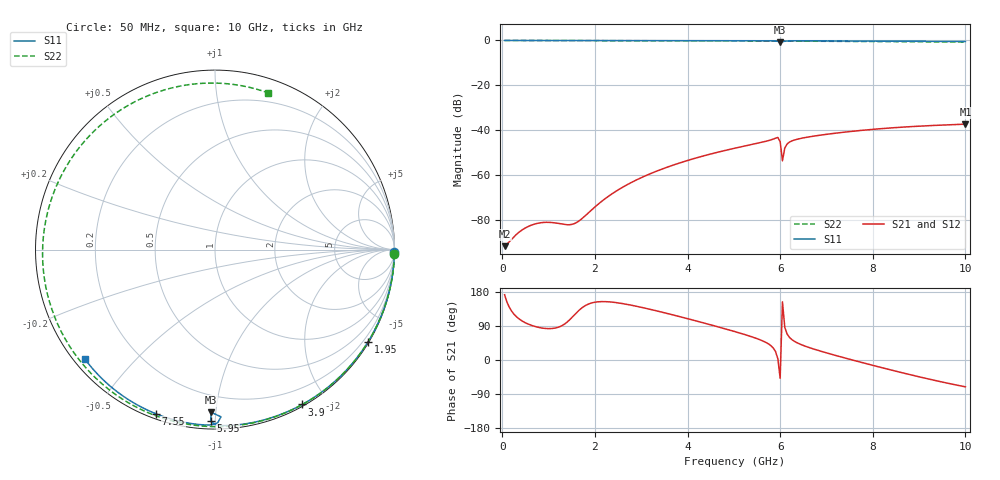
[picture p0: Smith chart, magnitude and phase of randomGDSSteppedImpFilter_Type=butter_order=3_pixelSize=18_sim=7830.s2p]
! freq	dB(S11)	phase(S11)	dB(S12)	phase(S12)
!  dB(S21)	phase(S21)	dB(S22)	phase(S22)
!S-par simulation data
#  GHz  S  DB  R 50
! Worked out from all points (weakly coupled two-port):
!   200 points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, 50 MHz to 10 GHz, reference 50 ohm
!   highest |S21| = -37.34 dB at 10 GHz (marker M1); lowest = -91.8 dB at 50 MHz (marker M2)
!   lowest |S11| = -0.9 dB at 6 GHz (marker M3), VSWR 20.44, Z = 4.77 - j48.6 ohm
!   |S11| at or under -10 dB: nowhere
!   |S22| runs from -0.7 to 0.0 dB; largest |S21 - S12| = 0
!   S11 on the Smith chart (normalised r, x): 50 MHz: open; 1.95 GHz: 0.03, -3.59; 3.9 GHz: 0.02, -1.71; 5.95 GHz: 0.04, -0.97; 7.55 GHz: 0.02, -0.70; 10 GHz: 0.03, -0.36
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0.05  -0.00 -0.8  -91.76 172.2  -91.76 172.2  -0.00 -1.4
0.85  -0.02 -13.7  -81.26 84.5  -81.26 84.5  -0.03 -24.0
1.65  -0.03 -26.4  -80.60 130.3  -80.60 130.3  -0.06 -46.0
1.75  -0.04 -28.0  -78.95 140.2  -78.95 140.2  -0.06 -48.7
1.95  -0.04 -31.1  -75.19 151.2  -75.19 151.2  -0.07 -54.1
2.6  -0.05 -41.2  -65.45 148.8  -65.45 148.8  -0.09 -71.3
3.4  -0.07 -53.2  -57.75 127.7  -57.75 127.7  -0.12 -91.9
3.9  -0.08 -60.6  -54.18 112.3  -54.18 112.3  -0.14 -104.5
5.05  -0.12 -77.1  -47.92 73.9  -47.92 73.9  -0.20 -133.1
5.95  -0.38 -91.5  -43.27 3.6  -43.27 3.6  -0.27 -155.9
6  -0.85 -91.3  -45.16 -48.2  -45.16 -48.2  -0.28 -157.2
6.05  -0.61 -88.0  -53.68 153.4  -53.68 153.4  -0.28 -158.5
6.1  -0.32 -89.1  -47.96 86.0  -47.96 86.0  -0.28 -159.8
6.15  -0.24 -90.3  -46.18 68.7  -46.18 68.7  -0.29 -161.1
6.3  -0.19 -93.0  -44.46 49.9  -44.46 49.9  -0.30 -165.0
6.7  -0.20 -98.6  -42.75 29.9  -42.75 29.9  -0.33 -175.8
7.55  -0.25 -109.7  -40.54 0.3  -40.54 0.3  -0.42 159.8
8.35  -0.31 -119.7  -39.07 -25.0  -39.07 -25.0  -0.51 134.2
8.85  -0.35 -125.9  -38.40 -40.0  -38.40 -40.0  -0.57 116.7
9.25  -0.39 -130.8  -37.97 -51.4  -37.97 -51.4  -0.62 101.6
9.65  -0.43 -135.7  -37.61 -62.1  -37.61 -62.1  -0.66 85.8
10  -0.47 -140.0  -37.34 -70.8  -37.34 -70.8  -0.70 71.4
